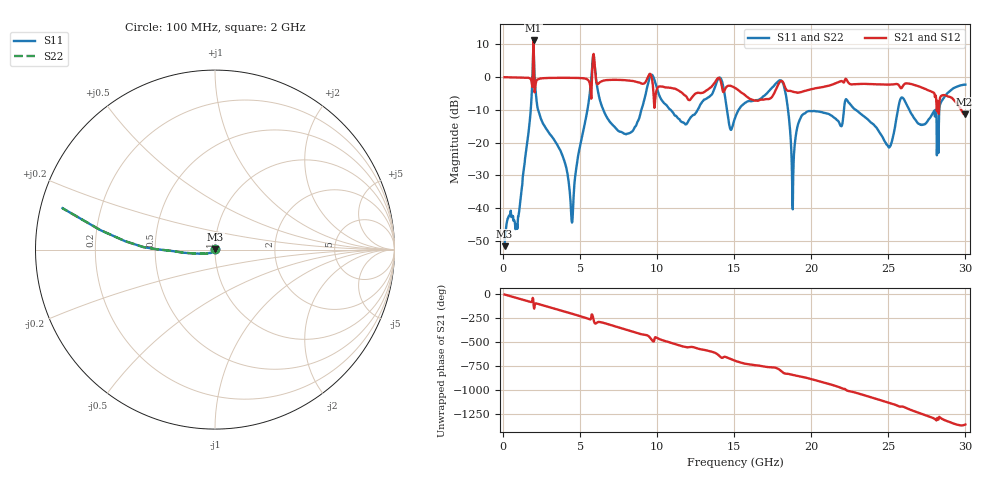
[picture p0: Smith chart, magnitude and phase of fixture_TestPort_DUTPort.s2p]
# Hz S MA R 50.0
!freq magS11 angS11 magS21 angS21 magS12 angS12 magS22 angS22
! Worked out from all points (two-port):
!   1197 points, 100 MHz to 30 GHz, reference 50 ohm
!   highest |S21| = 11.23 dB at 1.975 GHz (marker M1); lowest = -11.4 dB at 29.95 GHz (marker M2)
!   |S21| within 3 dB of the highest: 1.957 GHz to 1.99 GHz (32.96 MHz wide, 1.67 % of centre)
!   lowest |S11| = -51.7 dB at 100 MHz (marker M3), VSWR 1.01, Z = 50.1 + j0.246 ohm
!   |S11| at or under -10 dB: 2.277 GHz to 5.474 GHz (3.197 GHz wide, 82.5 % of centre); 18.49 GHz to 22.12 GHz (3.626 GHz wide, 17.9 % of centre); 22.89 GHz to 25.62 GHz (2.731 GHz wide, 11.3 % of centre)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
!   |S22| runs from -51.7 to 11.1 dB; largest |S21 - S12| = 0
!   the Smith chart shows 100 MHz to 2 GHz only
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1e8  0.002604 70.6  0.9988 -4.7  0.9988 -4.7  0.002604 70.6
9.5e8  0.005831 -73.0  0.9908 -43.4  0.9908 -43.4  0.005831 -73.0
1.975e9  3.571 80.5  3.643 -98.9  3.643 -98.9  3.571 80.5
4.45e9  0.006341 -42.5  0.9765 156.8  0.9765 156.8  0.006341 -42.5
5.1e9  0.1161 37.6  0.9664 125.7  0.9664 125.7  0.1161 37.6
5.725e9  0.9546 -6.8  0.4683 127.5  0.4683 127.5  0.9546 -6.8
5.9e9  1.973 -104.7  2.061 76.6  2.061 76.6  1.973 -104.7
6.425e9  0.3527 175.4  0.8701 64.7  0.8701 64.7  0.3527 175.4
7.925e9  0.1355 84.7  0.8992 -7.2  0.8992 -7.2  0.1355 84.7
9.525e9  1.009 -102.0  1.126 -91.2  1.126 -91.2  1.009 -102.0
1.0075e10  0.5765 147.6  0.7123 -103.1  0.7123 -103.1  0.5765 147.6
1.215e10  0.2385 -114.7  0.4533 170.9  0.4533 170.9  0.2385 -114.7
1.3925e10  0.9062 83.9  0.9587 92.5  0.9587 92.5  0.9062 83.9
1.505e10  0.2378 59.2  0.6838 26.3  0.6838 26.3  0.2378 59.2
1.8075e10  0.8793 -87.4  0.8763 -84.1  0.8763 -84.1  0.8793 -87.4
1.88e10  0.009542 -34.4  0.5995 -121.0  0.5995 -121.0  0.009542 -34.4
2.005e10  0.3017 -102.1  0.6575 -166.7  0.6575 -166.7  0.3017 -102.1
2.225e10  0.4618 -100.3  0.942 83.8  0.942 83.8  0.4618 -100.3
2.5025e10  0.08448 -9.7  0.7689 -49.6  0.7689 -49.6  0.08448 -9.7
2.705e10  0.1905 85.7  0.7132 -160.0  0.7132 -160.0  0.1905 85.7
2.995e10  0.7701 -0.7  0.269 79.7  0.269 79.7  0.7701 -0.7
3e10  0.768 -4.5  0.2759 83.3  0.2759 83.3  0.768 -4.5
